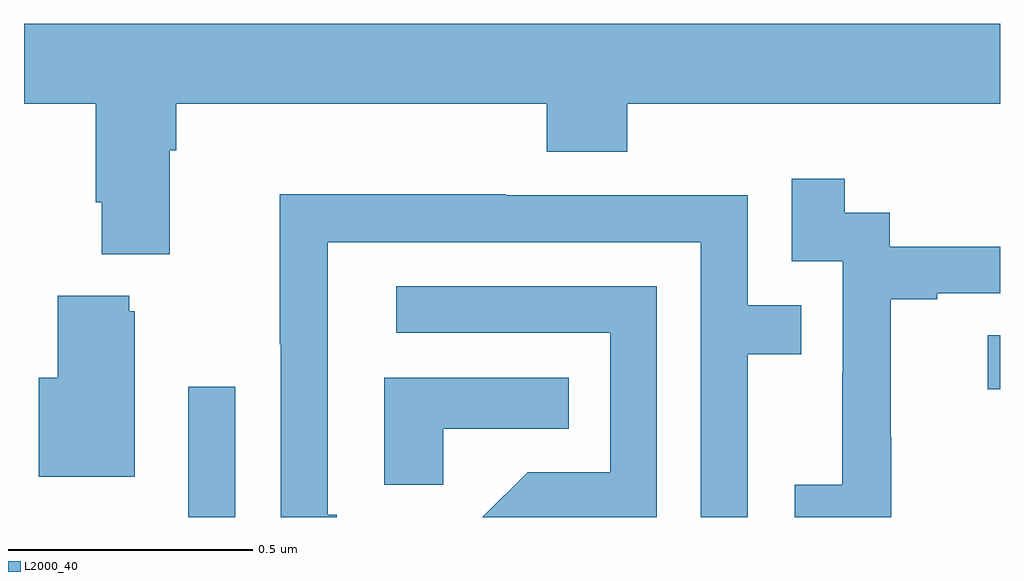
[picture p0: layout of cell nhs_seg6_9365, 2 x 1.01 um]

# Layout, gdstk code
import gdstk
lib = gdstk.Library(unit=1e-6, precision=1e-09)
def R(c, l, rs):  # rectangles x0, y0, x1, y1
    for r in rs: c.add(gdstk.rectangle(r[:2], r[2:], *l))
def P(c, l, *ps):  # polygons
    for p in ps: c.add(gdstk.Polygon(p, *l))
L2000_40 = (2000, 40)

nhs_seg6_9365 = lib.new_cell('nhs_seg6_9365')
R(nhs_seg6_9365, L2000_40, [(233.337,934.5,233.433,934.768), (234.975,934.763,235,934.873)])
P(nhs_seg6_9365, L2000_40, [(233.299,935.252),(233.312,935.252),(233.312,935.348),(234.071,935.348),(234.071,935.249),(234.236,935.249),(234.236,935.348),(235,935.348),(235,935.512),(233,935.512),(233,935.348),(233.147,935.348),(233.147,935.146),(233.159,935.146),(233.159,935.039),(233.299,935.039)],
  [(234.777,934.663),(234.776,934.663),(234.776,934.947),(234.871,934.947),(234.871,934.959),(235,934.959),(235,935.055),(234.774,935.055),(234.774,935.124),(234.682,935.124),(234.682,935.194),(234.573,935.194),(234.573,935.025),(234.678,935.025),(234.678,934.796),(234.677,934.796),(234.677,934.567),(234.579,934.567),(234.579,934.5),(234.777,934.5)],
  [(233.641,934.506),(233.622,934.506),(233.622,935.064),(234.387,935.064),(234.387,934.5),(234.483,934.5),(234.483,934.834),(234.593,934.834),(234.593,934.935),(234.483,934.935),(234.483,935.16),(233.987,935.16),(233.987,935.162),(233.524,935.162),(233.524,934.855),(233.526,934.855),(233.526,934.5),(233.641,934.5)],
  [(234.297,934.974),(233.763,934.974),(233.763,934.878),(234.201,934.878),(234.201,934.593),(234.032,934.593),(233.939,934.5),(234.297,934.5)],
  [(233.227,934.923),(233.216,934.923),(233.216,934.954),(233.069,934.954),(233.069,934.786),(233.03,934.786),(233.03,934.583),(233.227,934.583)],
  [(233.859,934.682),(234.116,934.682),(234.116,934.786),(233.738,934.786),(233.738,934.567),(233.859,934.567)])

lib.write_gds('nhs_seg6_9365.gds')
